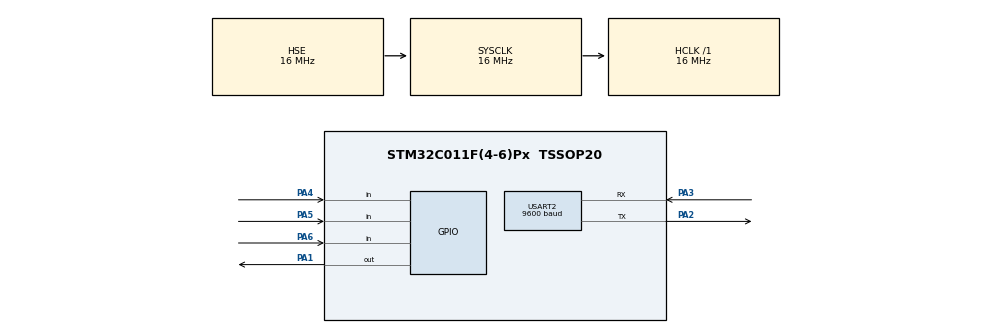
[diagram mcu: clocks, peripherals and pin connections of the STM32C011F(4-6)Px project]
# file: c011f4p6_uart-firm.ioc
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Mcu.Family=STM32C0
Mcu.Name=STM32C011F(4-6)Px
Mcu.Package=TSSOP20
PA1.PinState=GPIO_PIN_RESET
PA1.Signal=GPIO_Output
PA13.Mode=Serial_Wire
PA13.Signal=DEBUG_SWDIO
PA14-BOOT0.Mode=Serial_Wire
PA14-BOOT0.Signal=DEBUG_SWCLK
PA2.Mode=Asynchronous
PA2.Signal=USART2_TX
PA3.Mode=Asynchronous
PA3.Signal=USART2_RX
PA4.Signal=GPIO_Input
PA5.Signal=GPIO_Input
PA6.Signal=GPIO_Input
PC14-OSCX_IN\ (PC14).Mode=HSE-External-Oscillator-REMAPPED
PC14-OSCX_IN\ (PC14).Signal=RCC_OSCX_IN
PC15-OSCX_OUT\ (PC15).Mode=HSE-External-Oscillator-REMAPPED
PC15-OSCX_OUT\ (PC15).Signal=RCC_OSCX_OUT
ProjectManager.HeapSize=0x200
ProjectManager.StackSize=0x400
ProjectManager.TargetToolchain=CMake
RCC.ADCFreq_Value=16000000
RCC.AHBFreq_Value=16000000
RCC.CortexFreq_Value=16000000
RCC.EXTERNAL_CLOCK_VALUE=12288000
RCC.HCLKFreq_Value=16000000
RCC.HSE_VALUE=16000000
RCC.HSI_VALUE=48000000
RCC.LSE_VALUE=32768
RCC.SYSCLKFreq_VALUE=16000000
RCC.SYSCLKSource=RCC_SYSCLKSOURCE_HSE
USART2.BaudRate=9600
USART2.VirtualMode-Asynchronous=VM_ASYNC
board=custom

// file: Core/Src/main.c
/* USER CODE BEGIN Header */
/**
  ******************************************************************************
  * @file           : main.c
  * @brief          : Main program body
  ******************************************************************************
  * @attention
  *
  * Copyright (c) 2026 STMicroelectronics.
  * All rights reserved.
  *
  * This software is licensed under terms that can be found in the LICENSE file
  * in the root directory of this software component.
  * If no LICENSE file comes with this software, it is provided AS-IS.
  *
  ******************************************************************************
  */
/* USER CODE END Header */
#include "main.h"
#include "usart.h"
#include "gpio.h"

/* USER CODE BEGIN Includes */
#include "stdio.h"
#include "stdbool.h"
/* USER CODE END Includes */

/* USER CODE BEGIN PD */
// 【極性設定】回路に合わせてここを true / false で切り替えます
// スイッチを押したときにピンが「Low」になる回路（プルアップ）なら true
// スイッチを押したときにピンが「High」になる回路（プルダウン）なら false
#define SWITCH_ACTIVE_LOW   false

// ANDゲート互換出力:
// 全正常時 = High（給電許可）、どれか1つでも異常時 = Low（給電遮断）
#define OUTPUT_AND_GATE_COMPATIBLE  true
/* USER CODE END PD */

/* USER CODE BEGIN PV */
// デバウンス用構造体
typedef struct {
    bool stable_state;    // 確定した論理値 (true / false)
    uint8_t count;        // 連続一致カウンタ
} DebouncePin_t;

// 5ms周期でサンプリングし、4回連続一致 (5ms * 4 = 20ms) で状態確定
#define DEBOUNCE_THRESHOLD 4

static DebouncePin_t deb_pa4 = {false, 0};
static DebouncePin_t deb_pa5 = {false, 0};
static DebouncePin_t deb_pa6 = {false, 0};

// チャタリング除去関数
bool UpdateDebounce(DebouncePin_t *pin, bool raw_state) {
    if (raw_state != pin->stable_state) {
        pin->count++;
        if (pin->count >= DEBOUNCE_THRESHOLD) {
            pin->stable_state = raw_state; // 閾値を超えたら確定状態を更新
            pin->count = 0;
        }
    } else {
        pin->count = 0; // raw値が確定値と同じならカウンタをリセット
    }
    return pin->stable_state;
}
/* USER CODE END PV */

void SystemClock_Config(void);

int main(void)
{

  /* MCU Configuration--------------------------------------------------------*/

  /* Reset of all peripherals, Initializes the Flash interface and the Systick. */
  HAL_Init();

  /* Configure the system clock */
  SystemClock_Config();

  /* Initialize all configured peripherals */
  MX_GPIO_Init();
  MX_USART2_UART_Init();
  /* USER CODE BEGIN 2 */
  char tx_buf[64];
  uint32_t last_uart_tick = 0;

  deb_pa4.stable_state = (HAL_GPIO_ReadPin(GPIOA, GPIO_PIN_4) == GPIO_PIN_SET);
  deb_pa5.stable_state = (HAL_GPIO_ReadPin(GPIOA, GPIO_PIN_5) == GPIO_PIN_SET);
  deb_pa6.stable_state = (HAL_GPIO_ReadPin(GPIOA, GPIO_PIN_6) == GPIO_PIN_SET);
  /* USER CODE END 2 */

  /* Infinite loop */
  /* USER CODE BEGIN WHILE */
  while (1)
  {
    // 1. 各ピンのraw電圧を読み取る
    bool raw_pa4 = (HAL_GPIO_ReadPin(GPIOA, GPIO_PIN_4) == GPIO_PIN_SET);
    bool raw_pa5 = (HAL_GPIO_ReadPin(GPIOA, GPIO_PIN_5) == GPIO_PIN_SET);
    bool raw_pa6 = (HAL_GPIO_ReadPin(GPIOA, GPIO_PIN_6) == GPIO_PIN_SET);

    // 2. チャタリング除去
    bool pin_pa4 = UpdateDebounce(&deb_pa4, raw_pa4);
    bool pin_pa5 = UpdateDebounce(&deb_pa5, raw_pa5);
    bool pin_pa6 = UpdateDebounce(&deb_pa6, raw_pa6);

    // 3. スイッチの論理値判定 (true: 正常・投入 / false: 異常・切断)
    bool sw_pa4, sw_pa5, sw_pa6;
#if SWITCH_ACTIVE_LOW
    // 押してGNDに落ちる(Low)回路の場合、Lowのときを判定
    sw_pa4 = !pin_pa4;
    sw_pa5 = !pin_pa5;
    sw_pa6 = !pin_pa6;
#else
    // 押してHighになる回路の場合
    sw_pa4 = pin_pa4;
    sw_pa5 = pin_pa5;
    sw_pa6 = pin_pa6;
#endif

    // 4. 【AND演算】3つすべてのスイッチが正常(true)なら true
    bool and_result = (sw_pa4 && sw_pa5 && sw_pa6);

    // 5. PA1 に出力
    // 外付けANDゲート互換: 全て正常なら High、どれか欠けたら Low
#if OUTPUT_AND_GATE_COMPATIBLE
    HAL_GPIO_WritePin(GPIOA, GPIO_PIN_1, and_result ? GPIO_PIN_SET : GPIO_PIN_RESET);
#else
    // （もし「異常時にHigh」を求める仕様なら反転）
    HAL_GPIO_WritePin(GPIOA, GPIO_PIN_1, and_result ? GPIO_PIN_RESET : GPIO_PIN_SET);
#endif

    // 6. UART送信（100ms周期）
    uint32_t now = HAL_GetTick();
    if ((now - last_uart_tick) >= 100) {
        last_uart_tick = now;
        int len = snprintf(tx_buf, sizeof(tx_buf), "PWR:%d,%d,%d\r\n",
                           sw_pa4 ? 1 : 0, sw_pa5 ? 1 : 0, sw_pa6 ? 1 : 0);
        HAL_UART_Transmit(&huart2, (uint8_t*)tx_buf, len, 50);
    }

    HAL_Delay(5);
    /* USER CODE END WHILE */

  }
}

void SystemClock_Config(void)
{
  RCC_OscInitTypeDef RCC_OscInitStruct = {0};
  RCC_ClkInitTypeDef RCC_ClkInitStruct = {0};

  __HAL_FLASH_SET_LATENCY(FLASH_LATENCY_0);

  /** Initializes the RCC Oscillators according to the specified parameters
  * in the RCC_OscInitTypeDef structure.
  */
  RCC_OscInitStruct.OscillatorType = RCC_OSCILLATORTYPE_HSE;
  RCC_OscInitStruct.HSEState = RCC_HSE_ON;
  if (HAL_RCC_OscConfig(&RCC_OscInitStruct) != HAL_OK)
  {
    Error_Handler();
  }

  /** Initializes the CPU, AHB and APB buses clocks
  */
  RCC_ClkInitStruct.ClockType = RCC_CLOCKTYPE_HCLK|RCC_CLOCKTYPE_SYSCLK
                              |RCC_CLOCKTYPE_PCLK1;
  RCC_ClkInitStruct.SYSCLKSource = RCC_SYSCLKSOURCE_HSE;
  RCC_ClkInitStruct.SYSCLKDivider = RCC_SYSCLK_DIV1;
  RCC_ClkInitStruct.AHBCLKDivider = RCC_HCLK_DIV1;
  RCC_ClkInitStruct.APB1CLKDivider = RCC_APB1_DIV1;

  if (HAL_RCC_ClockConfig(&RCC_ClkInitStruct, FLASH_LATENCY_0) != HAL_OK)
  {
    Error_Handler();
  }
}

void Error_Handler(void)
{
  __disable_irq();
  while (1)
  {
  }
}
